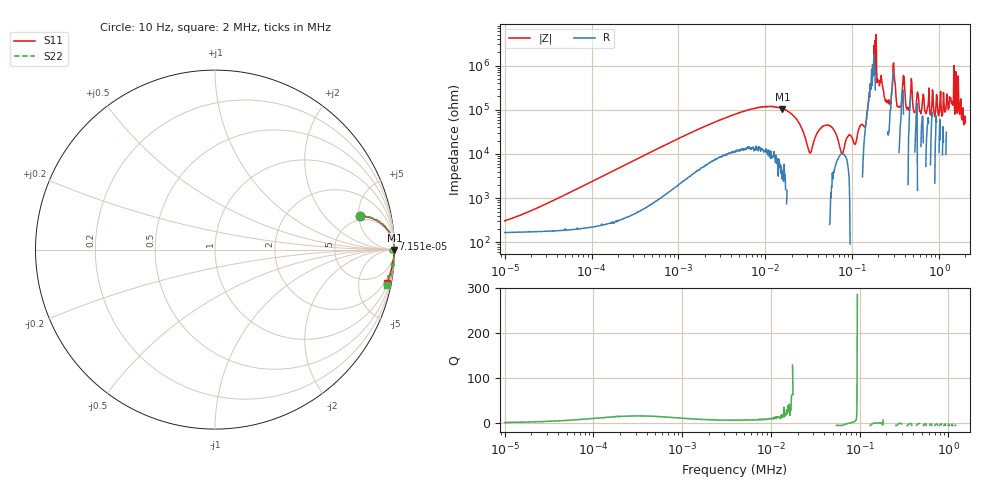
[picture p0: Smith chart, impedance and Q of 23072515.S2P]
!Agilent Technologies,E5061B,MY49204007,A.02.12
!Date: Wed Jul 23 11:25:52 2025
!Data & Calibration Information:
!Freq	S11:SOLT2(ON)	S21:SOLT2(ON)	S12:SOLT2(ON)	S22:SOLT2(ON)
# Hz S dB R 50
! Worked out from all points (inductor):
!   1040 points, 10 Hz to 2 MHz, reference 50 ohm
!   read as one part in series: L = 3.84 H near 21.7 Hz
!   highest Q = 27.8 at 15.67 kHz (marker M1), where L = 1.06 H
!   self-resonance near 32.17 kHz
!   S11 on the Smith chart (normalised r, x): 10 Hz: 4.38, +5.17; 71.51 Hz: 5, +34; 2 MHz: 1, -10
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10  -1.64 13.0  -11.41 -44.0  -11.41 -43.9  -1.63 13.2
71.513  -0.08 3.3  -24.68 -79.8  -24.68 -79.7  -0.06 3.5
77.209  -0.07 3.1  -25.32 -80.4  -25.32 -80.3  -0.05 3.3
588.818  -0.01 0.4  -42.55 -85.5  -42.55 -85.4  0.01 0.6
4498.482  -0.00 0.0  -57.96 -81.6  -57.96 -81.7  0.01 0.2
15674.88  -0.01 -0.1  -60.41 -88.0  -60.58 -88.2  0.01 -0.0
34305.13  -0.04 -0.1  -42.52 139.3  -42.52 139.2  -0.06 0.3
49996.43  -0.01 -0.2  -53.01 94.0  -53.02 93.7  0.01 -0.3
75946.9  -0.04 -0.4  -40.14 4.6  -40.17 4.9  -0.21 -0.5
91012.27  -0.01 -0.4  -48.41 -82.6  -48.57 -82.4  -0.02 -0.4
107797.2  -0.02 -0.6  -44.45 -171.0  -44.50 -170.5  -0.22 -0.3
141827.6  -0.03 -0.7  -52.87 24.1  -52.91 23.6  -0.02 -0.3
177790.9  -0.02 -1.0  -89.06 51.2  -80.91 -32.5  -0.00 -0.6
261946.5  -0.02 -1.4  -64.48 78.3  -62.94 74.8  -0.00 -1.2
294710.7  -0.02 -1.6  -80.22 56.8  -73.87 24.0  0.00 -1.4
347350.3  -0.02 -1.8  -61.47 81.8  -61.41 83.2  0.00 -1.8
387842.4  -0.02 -2.0  -75.54 80.3  -82.62 57.0  0.00 -2.0
432692.3  -0.03 -2.3  -61.13 88.5  -60.68 89.8  -0.00 -2.2
477453.1  -0.02 -2.5  -74.05 89.0  -72.31 82.9  -0.01 -2.4
522214  -0.03 -2.7  -59.21 80.2  -59.20 81.1  -0.00 -2.8
1574823  -0.14 -8.5  -65.54 -149.1  -64.00 -154.9  -0.16 -8.8
2000000  -0.20 -11.0  -54.37 -132.4  -54.52 -129.6  -0.18 -11.7
